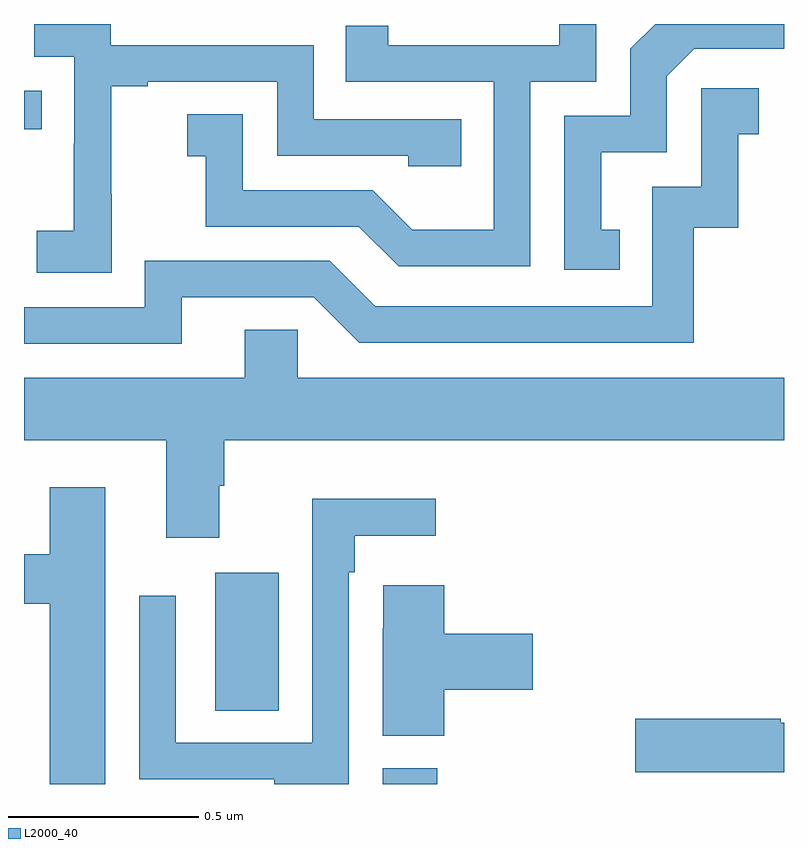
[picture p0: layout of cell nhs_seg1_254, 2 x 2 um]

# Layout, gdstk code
import gdstk
lib = gdstk.Library(unit=1e-6, precision=1e-09)
def R(c, l, rs):  # rectangles x0, y0, x1, y1
    for r in rs: c.add(gdstk.rectangle(r[:2], r[2:], *l))
def P(c, l, *ps):  # polygons
    for p in ps: c.add(gdstk.Polygon(p, *l))
L2000_40 = (2000, 40)

nhs_seg1_254 = lib.new_cell('nhs_seg1_254')
R(nhs_seg1_254, L2000_40, [(114.944,512.199,115.088,512.241), (114.503,512.392,114.67,512.755), (114,513.922,114.047,514.023)])
P(nhs_seg1_254, L2000_40, [(115.568,513.657),(115.519,513.657),(115.519,513.861),(115.692,513.861),(115.692,514.062),(115.764,514.134),(116,514.134),(116,514.199),(115.661,514.199),(115.596,514.134),(115.596,513.957),(115.422,513.957),(115.422,513.552),(115.568,513.552)],
  [(114.231,513.751),(114.23,513.751),(114.23,514.035),(114.325,514.035),(114.325,514.047),(114.666,514.047),(114.666,513.852),(115.011,513.852),(115.011,513.825),(115.151,513.825),(115.151,513.948),(114.762,513.948),(114.762,514.143),(114.228,514.143),(114.228,514.199),(114.027,514.199),(114.027,514.113),(114.132,514.113),(114.132,513.884),(114.131,513.884),(114.131,513.655),(114.033,513.655),(114.033,513.545),(114.231,513.545)],
  [(115.332,514.047),(115.506,514.047),(115.506,514.199),(115.409,514.199),(115.409,514.143),(114.958,514.143),(114.958,514.195),(114.847,514.195),(114.847,514.047),(115.236,514.047),(115.236,513.658),(115.022,513.658),(114.918,513.762),(114.576,513.762),(114.576,513.961),(114.429,513.961),(114.429,513.851),(114.478,513.851),(114.478,513.666),(114.881,513.666),(114.986,513.561),(115.332,513.561)],
  [(114.415,513.48),(114.762,513.48),(114.882,513.36),(115.762,513.36),(115.762,513.663),(115.88,513.663),(115.88,513.909),(115.933,513.909),(115.933,514.03),(115.782,514.03),(115.782,513.771),(115.653,513.771),(115.653,513.456),(114.924,513.456),(114.804,513.576),(114.318,513.576),(114.318,513.453),(114,513.453),(114,513.357),(114.415,513.357)],
  [(114.514,512.984),(114.527,512.984),(114.527,513.104),(116,513.104),(116,513.268),(114.72,513.268),(114.72,513.395),(114.581,513.395),(114.581,513.268),(114,513.268),(114,513.104),(114.374,513.104),(114.374,512.847),(114.514,512.847)],
  [(114.214,512.98),(114.068,512.98),(114.068,512.803),(114,512.803),(114,512.674),(114.068,512.674),(114.068,512.199),(114.214,512.199)],
  [(114.855,512.756),(114.871,512.756),(114.871,512.852),(115.084,512.852),(115.084,512.95),(114.759,512.95),(114.759,512.307),(114.399,512.307),(114.399,512.695),(114.303,512.695),(114.303,512.211),(114.659,512.211),(114.659,512.199),(114.855,512.199)],
  [(115.106,512.447),(115.339,512.447),(115.339,512.594),(115.106,512.594),(115.106,512.722),(114.945,512.722),(114.945,512.609),(114.944,512.609),(114.944,512.326),(115.106,512.326)],
  [(116,512.36),(115.992,512.36),(115.992,512.371),(115.608,512.371),(115.608,512.23),(116,512.23)])

lib.write_gds('nhs_seg1_254.gds')
